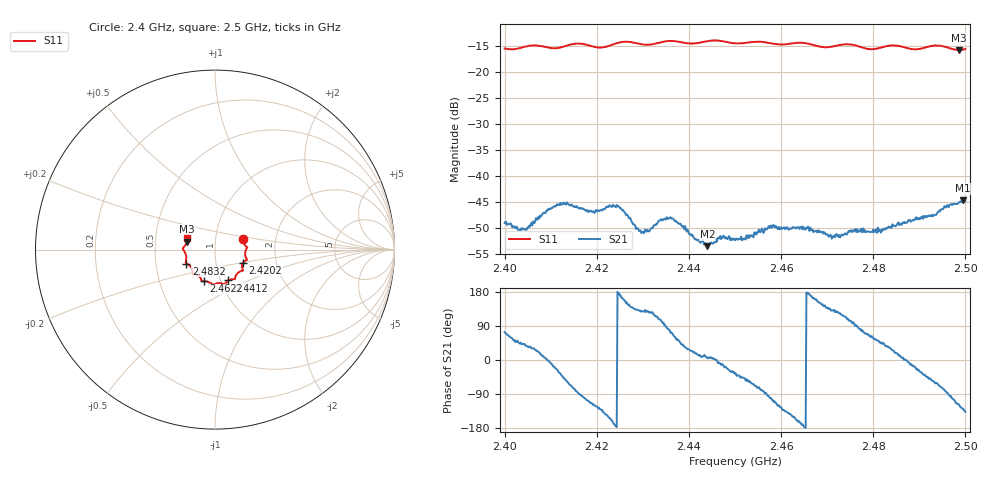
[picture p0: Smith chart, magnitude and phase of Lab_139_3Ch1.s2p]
# Hz S RI R 50
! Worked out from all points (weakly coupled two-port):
!   601 points, 2.4 GHz to 2.5 GHz, reference 50 ohm
!   highest |S21| = -44.73 dB at 2.4995 GHz (marker M1); lowest = -53.6 dB at 2.444 GHz (marker M2)
!   lowest |S11| = -15.8 dB at 2.4987 GHz (marker M3), VSWR 1.39, Z = 36.4 + j3.35 ohm
!   |S11| at or under -10 dB: start of sweep to end of sweep
!   S12 and S22 are empty: the file has one direction only
!   S11 on the Smith chart (normalised r, x): 2.4 GHz: 1.36, +0.17; 2.4202 GHz: 1.35, -0.20; 2.4412 GHz: 1.09, -0.39; 2.4622 GHz: 0.83, -0.30; 2.4832 GHz: 0.72, -0.12; 2.5 GHz: 0.73, +0.09
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2.4e9  0.1566 0.0594  0.000993 0.00336  0 0  0 0
2.404333e9  0.1734 0.0184  0.00224 0.00205  0 0  0 0
2.411667e9  0.168 -0.0271  0.00449 -0.00267  0 0  0 0
2.416667e9  0.1771 -0.0583  -0.000323 -0.00488  0 0  0 0
2.420167e9  0.1559 -0.0726  -0.00255 -0.00375  0 0  0 0
2.424833e9  0.1552 -0.1119  -0.00499 0.00036  0 0  0 0
2.429833e9  0.1355 -0.1241  -0.00179 0.00223  0 0  0 0
2.433333e9  0.113 -0.1524  -0.00119 0.00342  0 0  0 0
2.436333e9  0.11 -0.165  0.00126 0.00367  0 0  0 0
2.441167e9  0.0751 -0.1721  0.00234 0.00089  0 0  0 0
2.444e9  0.0571 -0.1891  0.00209 0.000164  0 0  0 0
2.447e9  0.048 -0.1922  0.0024 -0.000546  0 0  0 0
2.45e9  0.0259 -0.1865  0.00192 -0.00142  0 0  0 0
2.457833e9  -0.0244 -0.1866  -0.000607 -0.00327  0 0  0 0
2.462167e9  -0.063 -0.1766  -0.00252 -0.00179  0 0  0 0
2.466667e9  -0.0767 -0.1665  -0.00292 0.000646  0 0  0 0
2.471167e9  -0.1082 -0.1379  -0.00167 0.00195  0 0  0 0
2.483167e9  -0.1596 -0.0783  0.00258 0.00179  0 0  0 0
2.483333e9  -0.1604 -0.0778  0.00267 0.00186  0 0  0 0
2.498667e9  -0.156 0.0449  -0.00269 -0.00488  0 0  0 0
2.4995e9  -0.1539 0.0563  -0.00362 -0.00453  0 0  0 0
2.5e9  -0.1535 0.063  -0.00418 -0.00389  0 0  0 0
